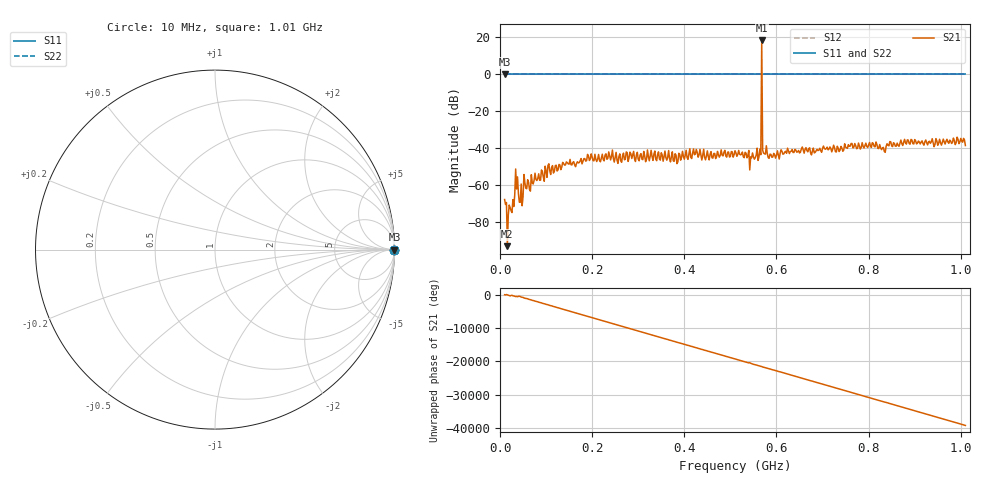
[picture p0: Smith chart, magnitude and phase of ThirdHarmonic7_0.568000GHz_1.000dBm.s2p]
! 8/17/2025 5:28:34 PM
! C:\ANRITSUVNA\TEMP\TEMP.S2P
! CHANNEL.1
! TR.MEASUREMENT
! RAW.DATA
! RF.CORRECTION.OFF
! AVERAGING.OFF
! IF.BANDWIDTH: 5KHZ
! SWEEPTYPE:  FREQ.SWEEP(Linear)
! Reference Plane Port Info
! PORT:  PORT1  PORT2
! DISTANCE:  0  m  0  m
! TIME:  0  s  0  s
! PHASE.OFFSET:  0  deg.  0  deg.
! LOSS:  0  dB  0  dB
! REF.LOSS:  0  dB  0  dB
! REF.FREQ:  0  Hz  0  Hz
! Power Info
! POWER:  -20  dBm  -20  dBm
! EFF.POWER:  -20  dBm  -20  dBm
! SOURCE.ATTEN:  0  dB  0  dB
! TEST.ATTEN:  0  dB  0  dB
# GHZ S RI R 50.0
! FREQ.GHZ  S11RE  S11IM  S21RE  S21IM  S12RE  S12IM  S22RE  S22IM
!; PortSelection: Port_12
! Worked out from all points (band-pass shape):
!   501 points, 10 MHz to 1.01 GHz, reference 50 ohm
!   highest |S21| = 18.36 dB at 568 MHz (marker M1); lowest = -93.2 dB at 16 MHz (marker M2)
!   |S21| within 3 dB of the highest: 567.9031 MHz to 568.1009 MHz (197.8 kHz wide, 0.0348 % of centre)
!   lowest |S11| = 0.0 dB at 10 MHz (marker M3)
!   |S11| at or under -10 dB: nowhere
!   |S22| runs from 0.0 to 0.0 dB; largest |S21 - S12| = 7.9
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0.01  1 0  -0.000198 0.000351  1 0  1 0
0.016  1 0  4.3e-06 2.15e-05  1 0  1 0
0.026  1 0  0.000133 -0.000119  1 0  1 0
0.036  1 0  0.0007 -0.000343  1 0  1 0
0.046  1 0  -0.000636 0.000849  1 0  1 0
0.056  1 0  0.000211 0.000786  1 0  1 0
0.062  1 0  -0.00115 -0.000277  1 0  1 0
0.102  1 0  0.00139 0.000814  1 0  1 0
0.178  1 0  -0.00365 -0.000765  1 0  1 0
0.344  1 0  0.0073 -0.003  1 0  1 0
0.51  1 0  -0.00836 -0.00134  1 0  1 0
0.562  1 0  0.0017 -0.00551  1 0  1 0
0.564  1 0  -0.00846 -0.00409  1 0  1 0
0.568  1 0  3.912 7.295  1 0  1 0
0.572  1 0  -0.00617 -0.00389  1 0  1 0
0.574  1 0  -0.00476 0.00518  1 0  1 0
0.586  1 0  0.00608 0.00317  1 0  1 0
0.678  1 0  0.00586 -0.00586  1 0  1 0
0.76  1 0  -0.00255 -0.011  1 0  1 0
0.832  1 0  -0.00727 -0.00754  1 0  1 0
0.844  1 0  -0.00671 0.00933  1 0  1 0
1.01  1 0  0.000608 -0.0117  1 0  1 0
